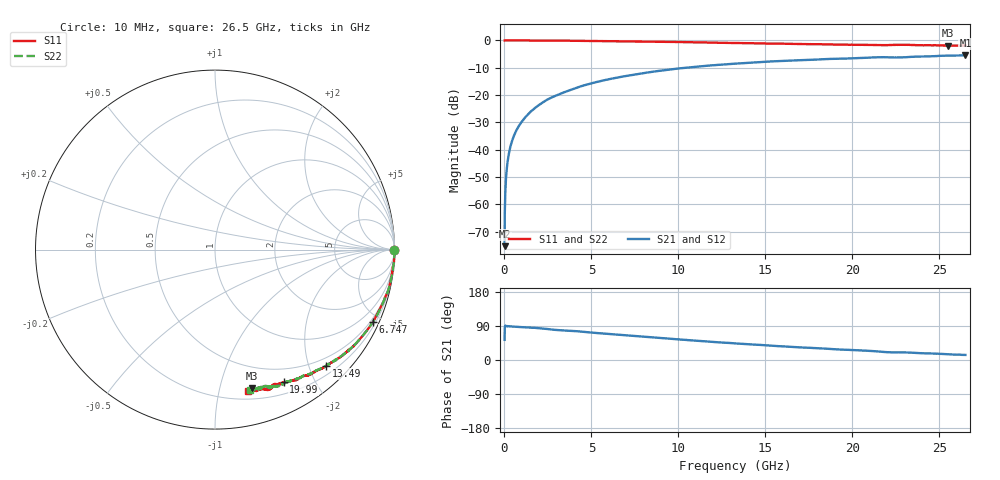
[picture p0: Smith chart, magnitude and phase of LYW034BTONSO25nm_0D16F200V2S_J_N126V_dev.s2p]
!Keysight Technologies,N5222B,MY61253708,A.15.00.15
!Date: Wednesday, June 19, 2024 09:54:33
!Correction: S11(C  2-Port  )
!S21(C  2-Port  )
!S12(C  2-Port  )
!S22(C  2-Port  )
!S2P File: Measurements: S11, S21, S12, S22:
# Hz S  RI  R 50
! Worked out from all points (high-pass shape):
!   2651 points, 10 MHz to 26.5 GHz, reference 50 ohm
!   highest |S21| = -5.40 dB at 26.5 GHz (marker M1); lowest = -75.3 dB at 10 MHz (marker M2)
!   |S21| within 3 dB of the highest: 13.46442 GHz to 13.47281 GHz (8.393 MHz wide, 0.0623 % of centre); 13.52 GHz to end of sweep
!   lowest |S11| = -1.9 dB at 25.5 GHz (marker M3), VSWR 9.00, Z = 14.6 - j62.8 ohm
!   |S11| at or under -10 dB: nowhere
!   |S22| runs from -1.9 to 0.0 dB; largest |S21 - S12| = 0.0062
!   S11 on the Smith chart (normalised r, x): 10 MHz: open; 6.747 GHz: 0.36, -4.55; 13.49 GHz: 0.35, -2.29; 19.99 GHz: 0.33, -1.59; 26.5 GHz: 0.27, -1.23
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1e7  0.9986 -0.00277  0.000103 0.000137  0.000217 0.000336  0.9989 -0.0012
7.997358e7  0.9999 -0.00573  1.56e-05 0.00262  1.21e-05 0.00266  0.9994 -0.00532
1.499472e8  1 -0.0108  6.02e-05 0.00495  4.94e-05 0.005  0.9996 -0.0102
1.899321e8  1 -0.0128  8.53e-05 0.00626  7.95e-05 0.00628  0.9997 -0.012
2.399132e8  0.9996 -0.0164  0.000124 0.00792  0.000119 0.00798  0.9993 -0.0158
3.398755e8  0.9996 -0.0229  0.000244 0.0113  0.000248 0.0113  0.9995 -0.0221
4.598302e8  0.9988 -0.0311  0.000451 0.0152  0.000441 0.0152  0.9988 -0.0304
6.097736e8  0.9989 -0.0406  0.000837 0.0201  0.000799 0.0202  0.9988 -0.0403
7.997019e8  0.9982 -0.0533  0.00141 0.0262  0.00134 0.0264  0.9976 -0.0525
1.429464e9  0.9906 -0.0961  0.00329 0.0469  0.00334 0.0471  0.9934 -0.0931
2.28914e9  0.9832 -0.1484  0.00932 0.0757  0.00957 0.0763  0.9845 -0.1492
3.138819e9  0.972 -0.2022  0.0201 0.1014  0.0203 0.102  0.9724 -0.2015
4.428332e9  0.9432 -0.2794  0.038 0.1409  0.0384 0.1418  0.9446 -0.2771
6.747457e9  0.879 -0.4035  0.0886 0.1979  0.0899 0.1987  0.8799 -0.4036
8.846664e9  0.8048 -0.5006  0.144 0.236  0.1455 0.2366  0.8057 -0.4996
1.3255e10  0.6298 -0.641  0.2708 0.2607  0.273 0.2603  0.6324 -0.6399
1.349491e10  0.6197 -0.6486  0.2774 0.2595  0.2788 0.2597  0.6225 -0.6445
1.767333e10  0.4584 -0.7213  0.3771 0.2335  0.3803 0.2316  0.4674 -0.7189
1.999246e10  0.3817 -0.7392  0.4231 0.2083  0.4257 0.2056  0.3924 -0.7387
2.209166e10  0.3232 -0.755  0.46 0.1719  0.4615 0.1686  0.3158 -0.7605
2.550038e10  0.204 -0.7736  0.5094 0.1357  0.5106 0.1348  0.2234 -0.7754
2.65e10  0.1844 -0.7874  0.5228 0.1242  0.5221 0.1202  0.197 -0.785
